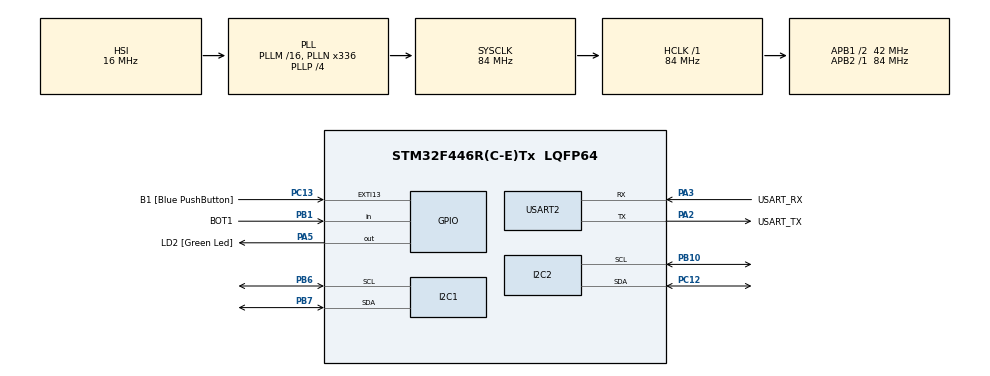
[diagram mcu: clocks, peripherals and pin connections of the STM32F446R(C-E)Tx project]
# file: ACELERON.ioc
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I2C2.I2C_Mode=I2C_Fast
Mcu.Family=STM32F4
Mcu.Name=STM32F446R(C-E)Tx
Mcu.Package=LQFP64
NVIC.PriorityGroup=NVIC_PRIORITYGROUP_0
NVIC.TIM1_TRG_COM_TIM11_IRQn=true\:0\:0\:false\:false\:true\:true\:true\:true
NVIC.TIM1_UP_TIM10_IRQn=true\:0\:0\:false\:false\:true\:true\:true\:true
PA13.GPIO_Label=TMS
PA13.Mode=Serial_Wire
PA13.Signal=SYS_JTMS-SWDIO
PA14.GPIO_Label=TCK
PA14.Mode=Serial_Wire
PA14.Signal=SYS_JTCK-SWCLK
PA2.GPIO_Label=USART_TX
PA2.Mode=Asynchronous
PA2.Signal=USART2_TX
PA3.GPIO_Label=USART_RX
PA3.Mode=Asynchronous
PA3.Signal=USART2_RX
PA5.GPIO_Label=LD2 [Green Led]
PA5.Signal=GPIO_Output
PB1.GPIO_Label=BOT1
PB1.GPIO_PuPd=GPIO_PULLDOWN
PB1.Signal=GPIO_Input
PB10.Mode=I2C
PB10.Signal=I2C2_SCL
PB3.GPIO_Label=SWO
PB3.Signal=SYS_JTDO-SWO
PB6.Mode=I2C
PB6.Signal=I2C1_SCL
PB7.Mode=I2C
PB7.Signal=I2C1_SDA
PC12.Mode=I2C
PC12.Signal=I2C2_SDA
PC13.GPIO_Label=B1 [Blue PushButton]
PC13.GPIO_ModeDefaultEXTI=GPIO_MODE_IT_FALLING
PC13.Signal=GPXTI13
PC14-OSC32_IN.Mode=LSE-External-Oscillator
PC14-OSC32_IN.Signal=RCC_OSC32_IN
PC15-OSC32_OUT.Mode=LSE-External-Oscillator
PC15-OSC32_OUT.Signal=RCC_OSC32_OUT
PH0-OSC_IN.Mode=HSE-External-Oscillator
PH0-OSC_IN.Signal=RCC_OSC_IN
PH1-OSC_OUT.Mode=HSE-External-Oscillator
PH1-OSC_OUT.Signal=RCC_OSC_OUT
ProjectManager.HeapSize=0x200
ProjectManager.StackSize=0x400
ProjectManager.TargetToolchain=STM32CubeIDE
RCC.48MHZClocksFreq_Value=84000000
RCC.AHBFreq_Value=84000000
RCC.APB1CLKDivider=RCC_HCLK_DIV2
RCC.APB1Freq_Value=42000000
RCC.APB1TimFreq_Value=84000000
RCC.APB2Freq_Value=84000000
RCC.APB2TimFreq_Value=84000000
RCC.CortexFreq_Value=84000000
RCC.FLatency-AdvancedSettings=FLASH_LATENCY_2
RCC.HCLKFreq_Value=84000000
RCC.HSE_VALUE=8000000
RCC.HSI_VALUE=16000000
RCC.PLLN=336
RCC.PLLP=RCC_PLLP_DIV4
RCC.SYSCLKFreq_VALUE=84000000
RCC.SYSCLKSource=RCC_SYSCLKSOURCE_PLLCLK
RCC.USBFreq_Value=168000000
RCC.VCOOutputFreq_Value=336000000
TIM1.Period=540-1
TIM1.Prescaler=8400-1
TIM11.Period=10000-1
TIM11.Prescaler=8400-1
USART2.VirtualMode=VM_ASYNC
VP_TIM11_VS_ClockSourceINT.Mode=Enable_Timer
VP_TIM1_VS_ClockSourceINT.Mode=Internal
board=NUCLEO-F446RE

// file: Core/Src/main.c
/* USER CODE BEGIN Header */
/**
 * HENRIQUE RAUPP & PEDRO TRENTO
 ******************************************************************************
 * @file           : main.c
 * @brief          : Main program body
 *
 ******************************************************************************
 * @attention
 *
 * <h2><center>&copy; Copyright (c) 2019 STMicroelectronics.
 * All rights reserved.</center></h2>
 *
 * This software component is licensed by ST under BSD 3-Clause license,
 * the "License"; You may not use this file except in compliance with the
 * License. You may obtain a copy of the License at:
 *                        opensource.org/licenses/BSD-3-Clause
 *
 ******************************************************************************
 */
/* USER CODE END Header */
#include "main.h"
#include "i2c.h"
#include "tim.h"
#include "usart.h"
#include "gpio.h"

/* USER CODE BEGIN Includes */
#include "string.h"
#include "stdio.h"
#include "ssd1306.h"
#include "fonts.h"

#include <stdlib.h>
#include <time.h>

/* USER CODE END Includes */

/* USER CODE BEGIN PTD */

////////////////////MAQUINA DE ESTADOS///////////////////////
typedef enum
{
	CONFIGURANDO = 0,
	SORTEANDO,
	EXIBINDO
} Estados_t;

/* USER CODE END PTD */

/* USER CODE BEGIN PD */

#define TOUT 100
#define TAM_MSG 200

#define TEMPO_BOT 2
#define MAX_AZ 1.99

/* USER CODE END PD */

/* USER CODE BEGIN PV */

///////////ACEl////////
uint8_t Rec_Data[6];
uint8_t check;
uint8_t Data;

int16_t Acell_X = 0;
int16_t Acell_Y = 0;
int16_t Acell_Z = 0;

float Ax, Ay, Az, Gx, Gy, Gz;

////////////DEB./////////
enum
{
	AGORA = 0,
	ANTES
};

uint8_t comando = 0, comando_hold = 0;
uint8_t bt1[2] = {0, 0};

uint8_t bsubida;

////////////////////MAQUINA DE ESTADOS///////////////////////

Estados_t modo = CONFIGURANDO;

/////////////////SORTEIO////////////////////
uint32_t numerogrande;
uint16_t conta;
char exibe_numero[2];

uint8_t min;
uint8_t max;
uint8_t numero_aleatorio;

/* USER CODE END PV */

void SystemClock_Config(void);

/* USER CODE BEGIN 0 */

//============================= Funcoes acelerometro =======================//

void MPU6050_Init(void)
{

	// Enviando o WHO AM I
	HAL_I2C_Mem_Read(&hi2c1, 0xD0, 0X75, 1, &check, 1, 1000);

	if (check == 104) // Se retornar do who am i
	{
		// WAKE UP
		Data = 0;
		HAL_I2C_Mem_Write(&hi2c1, 0xD0, 0x6B, 1, &Data, 1, 1000);

		// Setando DATA RATE 1KHz
		Data = 0x07;
		HAL_I2C_Mem_Write(&hi2c1, 0xD0, 0x19, 1, &Data, 1, 1000);

		// Setando configs do acelerometro
		Data = 0x00;
		HAL_I2C_Mem_Write(&hi2c1, 0xD0, 0X1C, 1, &Data, 1, 1000);
	}
	else // se nao retornar do who am i
		sprintf(msg, "\n\rNao deu pra ler");
	HAL_UART_Transmit(&huart2, msg, strlen(msg), TOUT);
}

void MPU6050_Read_Accel(void)
{

	HAL_I2C_Mem_Read(&hi2c1, 0xD0, 0x3B, 1, Rec_Data, 6, 1000);

	Acell_X = (int16_t)(Rec_Data[0] << 8 | Rec_Data[1]);
	Acell_Y = (int16_t)(Rec_Data[2] << 8 | Rec_Data[3]);
	Acell_Z = (int16_t)(Rec_Data[4] << 8 | Rec_Data[5]);

	// Convertendo para unidade de medida -> Datasheet
	Ax = Acell_X / 16384.0;
	Ay = Acell_Y / 16384.0;
	Az = Acell_Z / 16384.0;
}

//============================= Funcoes exibicao =======================//

void escolhe(void)
{

	switch (comando)
	{

	case 0:
		header();

		SSD1306_GotoXY(35, 30);
		SSD1306_Puts(" D4 ", &Font_11x18, 1);
		SSD1306_UpdateScreen(); // display

		break;

	case 1:

		header();

		SSD1306_GotoXY(35, 30);
		SSD1306_Puts(" D6 ", &Font_11x18, 1);
		SSD1306_UpdateScreen(); // display

		break;

	case 2:

		header();

		SSD1306_GotoXY(35, 30);
		SSD1306_Puts(" D8 ", &Font_11x18, 1);
		SSD1306_UpdateScreen(); // display

		break;

	case 3:

		header();

		SSD1306_GotoXY(35, 30);
		SSD1306_Puts(" D10 ", &Font_11x18, 1);
		SSD1306_UpdateScreen(); // display

		break;

	case 4:

		header();

		SSD1306_GotoXY(35, 30);
		SSD1306_Puts(" D12 ", &Font_11x18, 1);
		SSD1306_UpdateScreen(); // display

		break;

	case 5:

		header();

		SSD1306_GotoXY(35, 30);
		SSD1306_Puts(" D20 ", &Font_11x18, 1);
		SSD1306_UpdateScreen(); // display

		break;

	case 6:

		header();

		SSD1306_GotoXY(35, 30);
		SSD1306_Puts("FIM!", &Font_11x18, 1);
		SSD1306_UpdateScreen(); // display

		break;
	}
}

void sorteia(void)
{

	switch (comando)
	{
	case 0:
		min = 1;
		max = 4;
		break;
	case 1:
		min = 1;
		max = 6;
		break;
	case 2:
		min = 1;
		max = 8;
		break;
	case 3:
		min = 1;
		max = 10;
		break;
	case 4:
		min = 1;
		max = 12;
		break;
	case 5:
		min = 1;
		max = 20;
		break;
	}
}

void header(void)
{

	//////HEADER//////////
	SSD1306_GotoXY(15, 0);
	SSD1306_Puts("Raupp & Trento", &Font_7x10, 1);
	SSD1306_UpdateScreen(); // display
}

/* USER CODE END 0 */

int main(void)
{

	/* MCU Configuration--------------------------------------------------------*/

	/* Reset of all peripherals, Initializes the Flash interface and the Systick. */
	HAL_Init();

	/* Configure the system clock */
	SystemClock_Config();

	/* Initialize all configured peripherals */
	MX_GPIO_Init();
	MX_USART2_UART_Init();
	MX_I2C1_Init();
	MX_I2C2_Init();
	MX_TIM1_Init();
	MX_TIM11_Init();
	/* USER CODE BEGIN 2 */

	HAL_TIM_Base_Start_IT(&htim1);
	HAL_TIM_Base_Start_IT(&htim11);

	srand(time(NULL));

	MPU6050_Init();

	SSD1306_Init(); // inicia o display

	/* USER CODE END 2 */

	/* Infinite loop */
	/* USER CODE BEGIN WHILE */
	while (1)
	{
		switch (modo)
		{

		case CONFIGURANDO:

			escolhe();

			if (comando_hold >= TEMPO_BOT)
			{ // Mantem pressionado por 3 segundos ou mais
				comando = comando - 1;
				bsubida = 0;
				comando_hold = 0;
				modo = SORTEANDO;
			}

			break;

		case SORTEANDO:

			sorteia();

			SSD1306_GotoXY(28, 30);
			SSD1306_Puts("SACUDA!", &Font_11x18, 1);
			SSD1306_UpdateScreen(); // display

			srand(conta);
			numerogrande = rand();
			numero_aleatorio = numerogrande % max;

			while (numero_aleatorio == 0)
			{

				srand(conta);
				numerogrande = rand();
				numero_aleatorio = numerogrande % max;
			}

			sprintf(exibe_numero, "%d", numero_aleatorio);

			if (Az > MAX_AZ)
			{

				SSD1306_Clear();
				modo = EXIBINDO;
			}

			break;

		case EXIBINDO:

			header();

			SSD1306_GotoXY(55, 30);
			SSD1306_Puts(exibe_numero, &Font_11x18, 1);
			SSD1306_UpdateScreen(); // display

			sprintf(msg, "\r Numero sorteado = %i\n\r", numero_aleatorio);
			HAL_UART_Transmit(&huart2, msg, strlen(msg), TOUT);

			if (bsubida)
			{

				comando = 0;
				comando_hold = 0;
				SSD1306_Clear();
				modo = CONFIGURANDO;
			}

			break;
		}

		/* USER CODE END WHILE */

	}
}

void SystemClock_Config(void)
{
	RCC_OscInitTypeDef RCC_OscInitStruct = {0};
	RCC_ClkInitTypeDef RCC_ClkInitStruct = {0};

	/** Configure the main internal regulator output voltage
	 */
	__HAL_RCC_PWR_CLK_ENABLE();
	__HAL_PWR_VOLTAGESCALING_CONFIG(PWR_REGULATOR_VOLTAGE_SCALE3);

	/** Initializes the RCC Oscillators according to the specified parameters
	 * in the RCC_OscInitTypeDef structure.
	 */
	RCC_OscInitStruct.OscillatorType = RCC_OSCILLATORTYPE_HSI;
	RCC_OscInitStruct.HSIState = RCC_HSI_ON;
	RCC_OscInitStruct.HSICalibrationValue = RCC_HSICALIBRATION_DEFAULT;
	RCC_OscInitStruct.PLL.PLLState = RCC_PLL_ON;
	RCC_OscInitStruct.PLL.PLLSource = RCC_PLLSOURCE_HSI;
	RCC_OscInitStruct.PLL.PLLM = 16;
	RCC_OscInitStruct.PLL.PLLN = 336;
	RCC_OscInitStruct.PLL.PLLP = RCC_PLLP_DIV4;
	RCC_OscInitStruct.PLL.PLLQ = 2;
	RCC_OscInitStruct.PLL.PLLR = 2;
	if (HAL_RCC_OscConfig(&RCC_OscInitStruct) != HAL_OK)
	{
		Error_Handler();
	}

	/** Initializes the CPU, AHB and APB buses clocks
	 */
	RCC_ClkInitStruct.ClockType = RCC_CLOCKTYPE_HCLK | RCC_CLOCKTYPE_SYSCLK | RCC_CLOCKTYPE_PCLK1 | RCC_CLOCKTYPE_PCLK2;
	RCC_ClkInitStruct.SYSCLKSource = RCC_SYSCLKSOURCE_PLLCLK;
	RCC_ClkInitStruct.AHBCLKDivider = RCC_SYSCLK_DIV1;
	RCC_ClkInitStruct.APB1CLKDivider = RCC_HCLK_DIV2;
	RCC_ClkInitStruct.APB2CLKDivider = RCC_HCLK_DIV1;

	if (HAL_RCC_ClockConfig(&RCC_ClkInitStruct, FLASH_LATENCY_2) != HAL_OK)
	{
		Error_Handler();
	}
}

/* USER CODE BEGIN 4 */

void HAL_TIM_PeriodElapsedCallback(TIM_HandleTypeDef *htim)
{

	if (htim->Instance == TIM1)
	{

		conta++;

		if (conta > 4092)
			conta = 0;

		// Lendo o sensor

		MPU6050_Read_Accel();

		//=======================DEBOUNCE E DETECCAO DE BORDA =======================//

		bt1[AGORA] = HAL_GPIO_ReadPin(BOT1_GPIO_Port, BOT1_Pin);

		if (bt1[AGORA] == 1 && bt1[ANTES] == 0)
		{

			bsubida = 1;
			comando++;
		}

		if (bt1[AGORA] == 0 && bt1[ANTES] == 1)
		{
			// bdescida = 1;
			bsubida = 0;
		}

		bt1[ANTES] = bt1[AGORA]; /////// DETC BOT 1

		if (comando > 6)
			comando = 0;

	} //////////////FIM DEBOUNCE E DETEC.BORDA

	if (htim->Instance == TIM11)
	{

		if (bsubida)
		{
			comando_hold++;

			if (comando_hold > 3) // 3 segundos
				comando_hold = 0;
		}

		else
			comando_hold = 0;
	}
}

/* USER CODE END 4 */

void Error_Handler(void)
{
}
